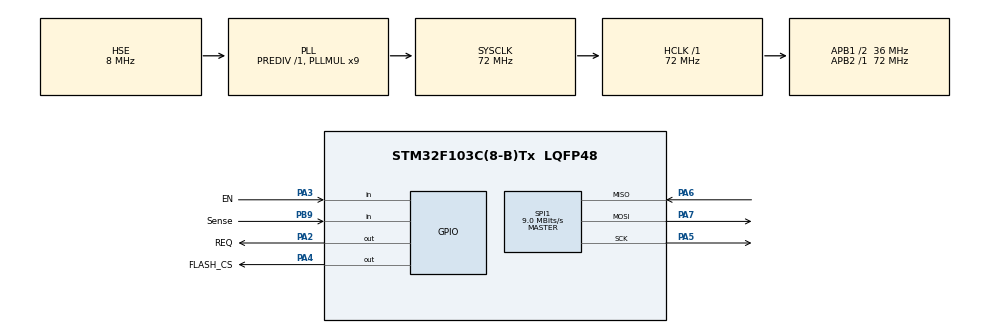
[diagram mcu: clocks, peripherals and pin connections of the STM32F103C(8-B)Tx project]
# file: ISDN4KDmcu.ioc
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Mcu.Family=STM32F1
Mcu.Name=STM32F103C(8-B)Tx
Mcu.Package=LQFP48
NVIC.PriorityGroup=NVIC_PRIORITYGROUP_4
PA13.Mode=Serial_Wire
PA13.Signal=SYS_JTMS-SWDIO
PA14.Mode=Serial_Wire
PA14.Signal=SYS_JTCK-SWCLK
PA2.GPIO_Label=REQ
PA2.Signal=GPIO_Output
PA3.GPIO_Label=EN
PA3.Signal=GPIO_Input
PA4.GPIO_Label=FLASH_CS
PA4.Signal=GPIO_Output
PA5.Mode=Full_Duplex_Master
PA5.Signal=SPI1_SCK
PA6.Mode=Full_Duplex_Master
PA6.Signal=SPI1_MISO
PA7.Mode=Full_Duplex_Master
PA7.Signal=SPI1_MOSI
PB9.GPIO_Label=Sense
PB9.Signal=GPIO_Input
PD0-OSC_IN.Mode=HSE-External-Oscillator
PD0-OSC_IN.Signal=RCC_OSC_IN
PD1-OSC_OUT.Mode=HSE-External-Oscillator
PD1-OSC_OUT.Signal=RCC_OSC_OUT
ProjectManager.HeapSize=0x200
ProjectManager.StackSize=0x400
ProjectManager.TargetToolchain=Makefile
RCC.AHBFreq_Value=72000000
RCC.APB1CLKDivider=RCC_HCLK_DIV2
RCC.APB1Freq_Value=36000000
RCC.APB1TimFreq_Value=72000000
RCC.APB2Freq_Value=72000000
RCC.APB2TimFreq_Value=72000000
RCC.HCLKFreq_Value=72000000
RCC.PLLMUL=RCC_PLL_MUL9
RCC.PLLSourceVirtual=RCC_PLLSOURCE_HSE
RCC.SYSCLKFreq_VALUE=72000000
RCC.SYSCLKSource=RCC_SYSCLKSOURCE_PLLCLK
RCC.USBFreq_Value=72000000
SPI1.BaudRatePrescaler=SPI_BAUDRATEPRESCALER_8
SPI1.CalculateBaudRate=9.0 MBits/s
SPI1.Direction=SPI_DIRECTION_2LINES
SPI1.Mode=SPI_MODE_MASTER
SPI1.VirtualType=VM_MASTER
board=custom

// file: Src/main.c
/* USER CODE BEGIN Header */
/**
  ******************************************************************************
  * @file           : main.c
  * @brief          : Main program body
  ******************************************************************************
  * @attention
  *
  * <h2><center>&copy; Copyright (c) 2020 STMicroelectronics.
  * All rights reserved.</center></h2>
  *
  * This software component is licensed by ST under BSD 3-Clause license,
  * the "License"; You may not use this file except in compliance with the
  * License. You may obtain a copy of the License at:
  *                        opensource.org/licenses/BSD-3-Clause
  *
  ******************************************************************************
  */
/* USER CODE END Header */

#include "main.h"
#include "spi.h"
#include "gpio.h"

/* USER CODE BEGIN Includes */
#include "w25qxx.h"
/* USER CODE END Includes */

/* USER CODE BEGIN PV */
volatile uint32_t writeCount = 0;
volatile uint8_t writeFlag = 0;
volatile uint8_t writeVal = 0;
volatile uint8_t readFlag = 0;
uint8_t device;
uint8_t readBufferSec0[4096];
uint8_t readBufferSec1[4096];
/* USER CODE END PV */

void SystemClock_Config(void);

int main(void)
{

  /* MCU Configuration--------------------------------------------------------*/

  /* Reset of all peripherals, Initializes the Flash interface and the Systick. */
  HAL_Init();

  /* Configure the system clock */
  SystemClock_Config();

  /* Initialize all configured peripherals */
  MX_GPIO_Init();
  MX_SPI1_Init();
  /* USER CODE BEGIN 2 */
  device = HAL_GPIO_ReadPin(Sense_GPIO_Port, Sense_Pin);

  HAL_GPIO_WritePin(REQ_GPIO_Port, REQ_Pin, SET);
  while (!HAL_GPIO_ReadPin(EN_GPIO_Port, EN_Pin))
  {
    /* code */
  }
  W25qxx_Init();
  HAL_GPIO_WritePin(REQ_GPIO_Port, REQ_Pin, RESET);

  /* USER CODE END 2 */

  /* Infinite loop */
  while (1)
  {

    /* USER CODE BEGIN 3 */
    while (!writeFlag && !readFlag)
    {
      /* code */
    }

    HAL_GPIO_WritePin(REQ_GPIO_Port, REQ_Pin, SET);
    while (!HAL_GPIO_ReadPin(EN_GPIO_Port, EN_Pin))
    {
      /* code */
    }

    if (writeFlag)
    {
      writeFlag = 0;

      if (writeCount == 4096) {
        writeCount = 0;
      }

      if (writeCount == 0) {
        W25qxx_EraseSector(device);
      }

      W25qxx_WriteByte(writeVal, writeCount + device * 0x1000);
      writeCount++;

    } else {

      readFlag = 0;

      W25qxx_ReadSector(readBufferSec0, device, 0, sizeof(readBufferSec0));
      // W25qxx_ReadSector(readBufferSec1, 1, 0, sizeof(readBufferSec1));

    }

    HAL_GPIO_WritePin(REQ_GPIO_Port, REQ_Pin, RESET);

  }
  /* USER CODE END 3 */
}

void SystemClock_Config(void)
{
  RCC_OscInitTypeDef RCC_OscInitStruct = {0};
  RCC_ClkInitTypeDef RCC_ClkInitStruct = {0};

  /** Initializes the CPU, AHB and APB busses clocks
  */
  RCC_OscInitStruct.OscillatorType = RCC_OSCILLATORTYPE_HSE;
  RCC_OscInitStruct.HSEState = RCC_HSE_ON;
  RCC_OscInitStruct.HSEPredivValue = RCC_HSE_PREDIV_DIV1;
  RCC_OscInitStruct.HSIState = RCC_HSI_ON;
  RCC_OscInitStruct.PLL.PLLState = RCC_PLL_ON;
  RCC_OscInitStruct.PLL.PLLSource = RCC_PLLSOURCE_HSE;
  RCC_OscInitStruct.PLL.PLLMUL = RCC_PLL_MUL9;
  if (HAL_RCC_OscConfig(&RCC_OscInitStruct) != HAL_OK)
  {
    Error_Handler();
  }
  /** Initializes the CPU, AHB and APB busses clocks
  */
  RCC_ClkInitStruct.ClockType = RCC_CLOCKTYPE_HCLK|RCC_CLOCKTYPE_SYSCLK
                              |RCC_CLOCKTYPE_PCLK1|RCC_CLOCKTYPE_PCLK2;
  RCC_ClkInitStruct.SYSCLKSource = RCC_SYSCLKSOURCE_PLLCLK;
  RCC_ClkInitStruct.AHBCLKDivider = RCC_SYSCLK_DIV1;
  RCC_ClkInitStruct.APB1CLKDivider = RCC_HCLK_DIV2;
  RCC_ClkInitStruct.APB2CLKDivider = RCC_HCLK_DIV1;

  if (HAL_RCC_ClockConfig(&RCC_ClkInitStruct, FLASH_LATENCY_2) != HAL_OK)
  {
    Error_Handler();
  }
}

void Error_Handler(void)
{
}

/************************ (C) COPYRIGHT STMicroelectronics *****END OF FILE****/
